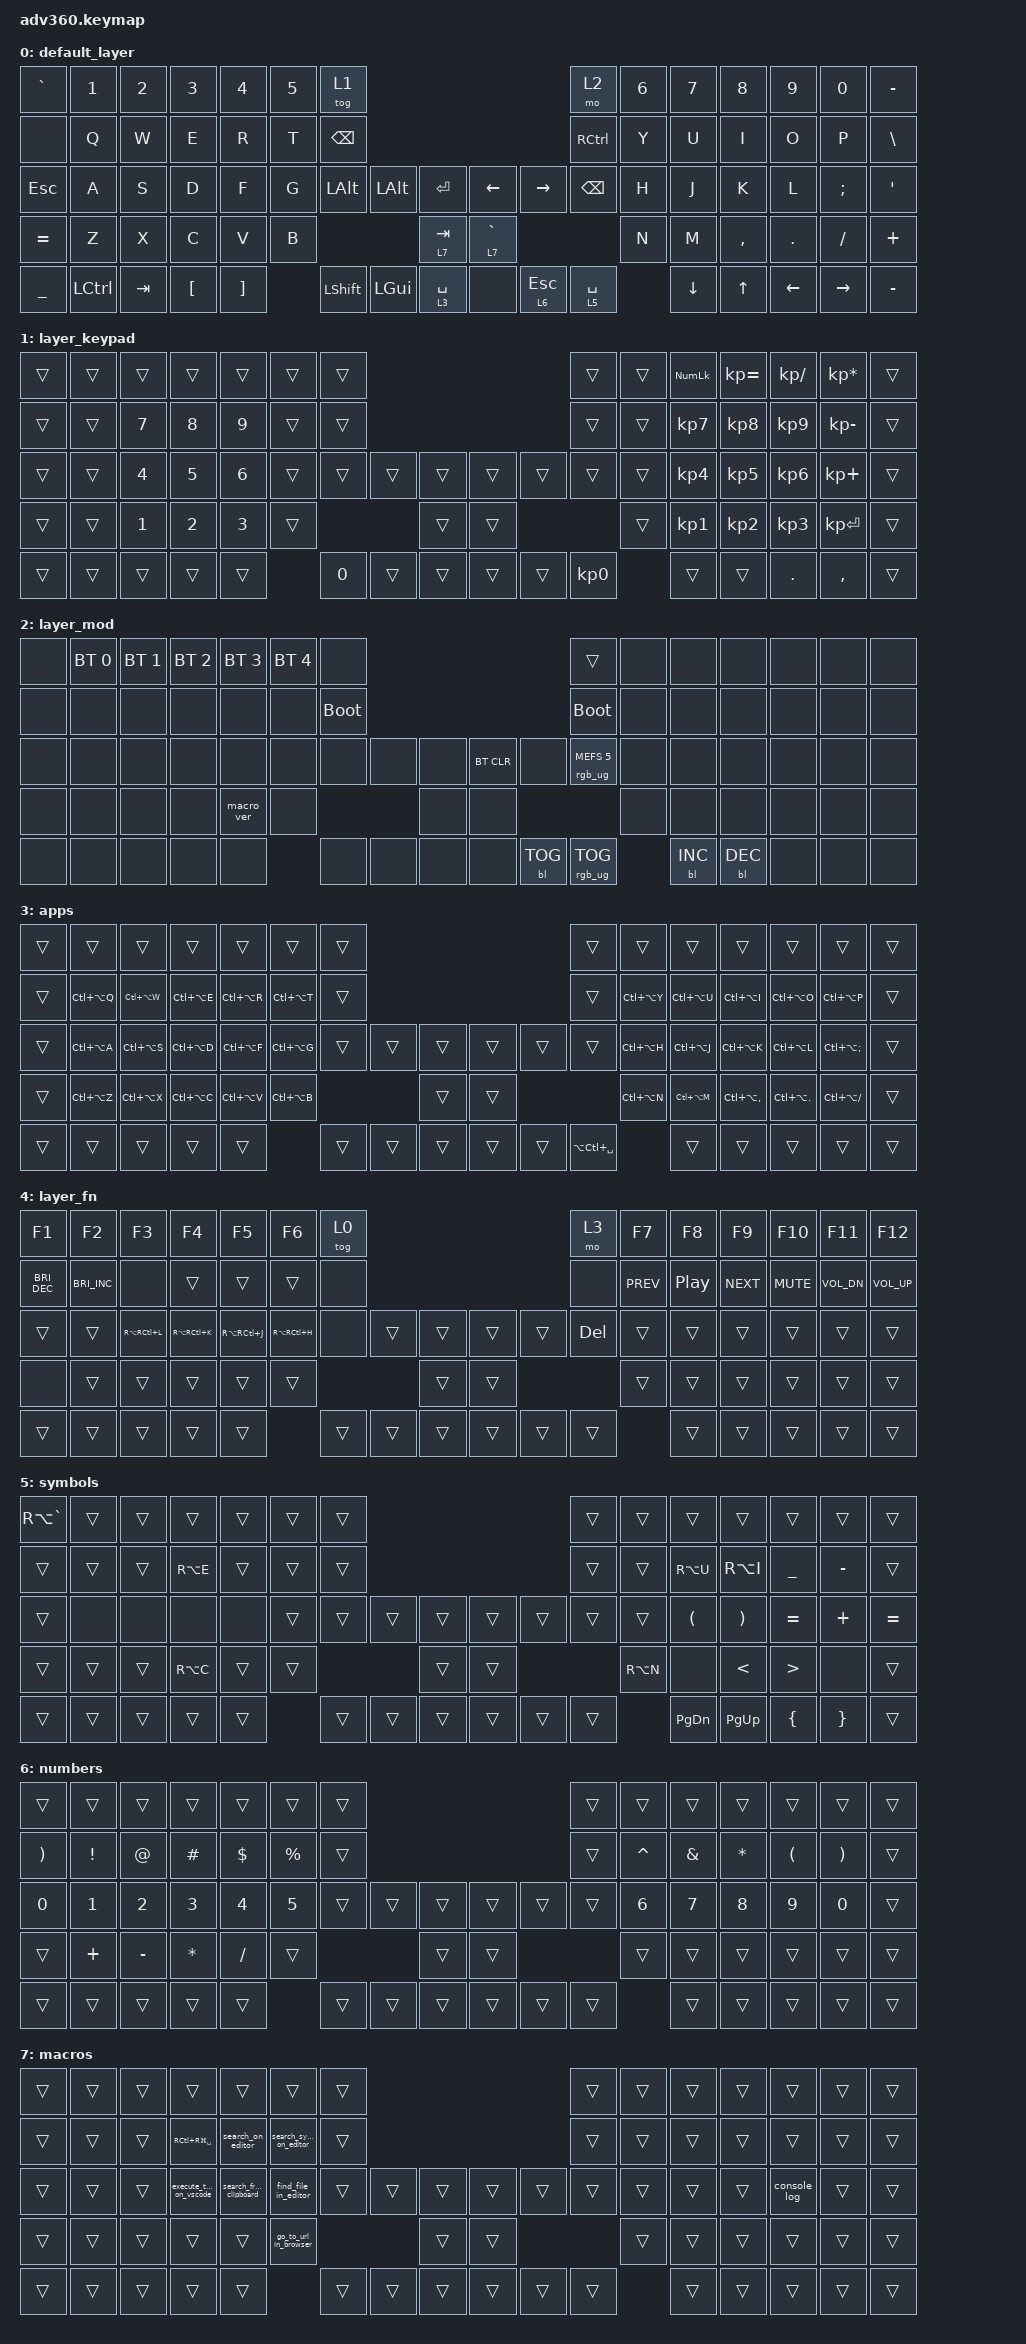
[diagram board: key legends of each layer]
/*
 * Copyright (c) 2020 The ZMK Contributors
 *
 * SPDX-License-Identifier: MIT
 */
/* THIS FILE WAS GENERATED!
 *
 * This file was generated automatically. You may or may not want to
 * edit it directly.
 */

#include <behaviors.dtsi>
#include <dt-bindings/zmk/backlight.h>
#include <dt-bindings/zmk/bt.h>
#include <dt-bindings/zmk/keys.h>
#include <dt-bindings/zmk/rgb.h>

/ {
    behaviors {
        #include "macros.dtsi"
    #include "version.dtsi"

        hm: homerow_mods {
            compatible = "zmk,behavior-hold-tap";
            label = "HOMEROW_MODS";
            #binding-cells = <2>;
            tapping-term-ms = <200>;
            quick_tap_ms = <175>;
            flavor = "tap-preferred";
            bindings = <&kp>, <&kp>;
        };
    };

    macros {
        go_to_url_in_browser: go_to_url_in_browser {
            compatible = "zmk,behavior-macro";
            #binding-cells = <0>;
            bindings = <&kp LG(C) &kp RA(RC(K)) &kp LG(L) &kp BACKSPACE &kp LG(V)>;
            label = "GO_TO_URL_IN_BROWSER";
        };

        find_file_in_editor: find_file {
            compatible = "zmk,behavior-macro";
            #binding-cells = <0>;
            bindings = <&kp LG(C) &kp RA(RC(J)) &kp LG(P) &kp LG(V)>;
            label = "FIND_FILE";
        };

        search_from_clipboard: search_from_clipboard {
            compatible = "zmk,behavior-macro";
            #binding-cells = <0>;
            bindings = <&kp LG(F) &kp LG(V)>;
            label = "SEARCH_FROM_CLIPBOARD";
        };

        search_on_editor: search_on_editor {
            compatible = "zmk,behavior-macro";
            #binding-cells = <0>;
            bindings = <&kp LG(C) &kp RA(RC(J)) &kp LG(RS(F)) &kp LG(V)>;
            label = "SEARCH_ON_EDITOR";
        };

        execute_tests_on_vscode: execute_tests_on_vscode {
            compatible = "zmk,behavior-macro";
            #binding-cells = <0>;
            bindings = <&kp LA(LC(J)) &kp RS(F5) &kp LG(LS(D)) &kp ENTER &kp LG(E) &kp LC(GRAVE)>;
            label = "EXECUTE_TESTS_ON_VSCODE";
        };

        typecheck_on_editor: typecheck_on_editor {
            compatible = "zmk,behavior-macro";
            #binding-cells = <0>;
            bindings = <&kp LA(LC(J)) &kp LC(GRAVE) &kp LC(C) &kp B &kp U &kp N &kp SPACE &kp T &kp Y &kp P &kp E &kp MINUS &kp C &kp H &kp E &kp C &kp K &kp ENTER>;
            label = "TYPECHECK_ON_EDITOR";
        };

        console_log: console_log {
            compatible = "zmk,behavior-macro";
            #binding-cells = <0>;
            bindings = <&kp LG(C) &kp O &kp C &kp O &kp N &kp S &kp O &kp L &kp E &kp DOT &kp L &kp O &kp G &kp LPAR &kp SQT &kp LS(T) &kp LS(O) &kp LS(D) &kp LS(O) &kp COLON &kp SPACE &kp LS(H) &kp LS(A) &kp LS(S) &kp LS(H) &kp LS(I) &kp SPACE &kp TILDE &kp SPACE &kp LG(V) &kp SQT &kp COMMA &kp LG(V) &kp RIGHT_PARENTHESIS &kp ESCAPE>;
            label = "CONSOLE_LOG";
        };

        search_symbol_on_editor: search_symbol_on_editor {
            compatible = "zmk,behavior-macro";
            #binding-cells = <0>;
            bindings = <&kp LG(C) &kp RA(RC(J)) &kp LG(T) &kp LG(V)>;
            label = "SEARCH_SYMBOL_ON_EDITOR";
        };
    };

    combos {
        compatible = "zmk,combos";

        JF {
            bindings = <&kp LA(LG(J))>;
            key-positions = <32 41>;
        };

        df {
            bindings = <&lt 3 ESC>;
            key-positions = <32 31>;
        };

        cmd_space_left {
            bindings = <&mo 4>;
            key-positions = <66 67>;
        };

        FH {
            bindings = <&kp LA(LG(H))>;
            key-positions = <32 40>;
        };

        opt-ctrl-space {
            bindings = <&kp LC(LA(SPACE))>;
            key-positions = <67 70>;
        };

        jk_enter {
            bindings = <&kp ENTER>;
            key-positions = <41 42>;
        };
    };

    keymap {
        compatible = "zmk,keymap";

        default_layer {
            bindings = <
&kp GRAVE       &kp N1     &kp N2   &kp N3            &kp N4             &kp N5  &tog 1                                                                 &mo 2              &kp N6  &kp N7    &kp N8     &kp N9          &kp N0     &kp MINUS
&none           &kp Q      &kp W    &kp E             &kp R              &kp T   &kp BACKSPACE                                                          &kp RIGHT_CONTROL  &kp Y   &kp U     &kp I      &kp O           &kp P      &kp BSLH
&kp ESC         &kp A      &kp S    &kp D             &kp F              &kp G   &kp LEFT_ALT    &kp LEFT_ALT  &kp ENTER        &kp LEFT     &kp RIGHT  &kp BACKSPACE      &kp H   &kp J     &kp K      &kp L           &kp SEMI   &kp SQT
&kp EQUAL       &kp Z      &kp X    &kp C             &kp V              &kp B                                 &lt 7 TAB        &lt 7 GRAVE                                &kp N   &kp M     &kp COMMA  &kp DOT         &kp FSLH   &kp PLUS
&kp UNDERSCORE  &kp LCTRL  &kp TAB  &kp LEFT_BRACKET  &kp RIGHT_BRACKET          &kp LEFT_SHIFT  &kp LEFT_GUI  &lt 3 SPACE      &none        &lt 6 ESC  &lt 5 SPACE                &kp DOWN  &kp UP     &kp LEFT_ARROW  &kp RIGHT  &kp MINUS
            >;
        };

        layer_keypad {
            bindings = <
&trans  &trans  &trans        &trans        &trans        &trans  &trans                                      &trans     &trans  &kp KP_NUM  &kp KP_EQUAL  &kp KP_DIVIDE  &kp KP_MULTIPLY  &trans
&trans  &trans  &kp N7        &kp N8        &kp N9        &trans  &trans                                      &trans     &trans  &kp KP_N7   &kp KP_N8     &kp KP_N9      &kp KP_MINUS     &trans
&trans  &trans  &kp NUMBER_4  &kp N5        &kp NUMBER_6  &trans  &trans  &trans  &trans      &trans  &trans  &trans     &trans  &kp KP_N4   &kp KP_N5     &kp KP_N6      &kp KP_PLUS      &trans
&trans  &trans  &kp N1        &kp NUMBER_2  &kp NUMBER_3  &trans                  &trans      &trans                     &trans  &kp KP_N1   &kp KP_N2     &kp KP_N3      &kp KP_ENTER     &trans
&trans  &trans  &trans        &trans        &trans                &kp N0  &trans  &trans      &trans  &trans  &kp KP_N0          &trans      &trans        &kp PERIOD     &kp COMMA        &trans
            >;
        };

        layer_mod {
            bindings = <
&none  &bt BT_SEL 0  &bt BT_SEL 1  &bt BT_SEL 2  &bt BT_SEL 3  &bt BT_SEL 4  &none                                                  &trans                  &none  &none       &none       &none  &none  &none
&none  &none         &none         &none         &none         &none         &bootloader                                            &bootloader             &none  &none       &none       &none  &none  &none
&none  &none         &none         &none         &none         &none         &none        &none  &none      &bt BT_CLR  &none       &rgb_ug RGB_MEFS_CMD 5  &none  &none       &none       &none  &none  &none
&none  &none         &none         &none         &macro_ver    &none                             &none      &none                                           &none  &none       &none       &none  &none  &none
&none  &none         &none         &none         &none                       &none        &none  &none      &none       &bl BL_TOG  &rgb_ug RGB_TOG                &bl BL_INC  &bl BL_DEC  &none  &none  &none
            >;
        };

        apps {
            bindings = <
&trans  &trans         &trans         &trans         &trans         &trans         &trans                                      &trans             &trans         &trans         &trans             &trans           &trans            &trans
&trans  &kp LC(LA(Q))  &kp LC(LA(W))  &kp LC(LA(E))  &kp LC(LA(R))  &kp LC(LA(T))  &trans                                      &trans             &kp LC(LA(Y))  &kp LC(LA(U))  &kp LC(LA(I))      &kp LC(LA(O))    &kp LC(LA(P))     &trans
&trans  &kp LC(LA(A))  &kp LC(LA(S))  &kp LC(LA(D))  &kp LC(LA(F))  &kp LC(LA(G))  &trans  &trans  &trans      &trans  &trans  &trans             &kp LC(LA(H))  &kp LC(LA(J))  &kp LC(LA(K))      &kp LC(LA(L))    &kp LC(LA(SEMI))  &trans
&trans  &kp LC(LA(Z))  &kp LC(LA(X))  &kp LC(LA(C))  &kp LC(LA(V))  &kp LC(LA(B))                  &trans      &trans                             &kp LC(LA(N))  &kp LC(LA(M))  &kp LC(LA(COMMA))  &kp LC(LA(DOT))  &kp LC(LA(FSLH))  &trans
&trans  &trans         &trans         &trans         &trans                        &trans  &trans  &trans      &trans  &trans  &kp LA(LC(SPACE))                 &trans         &trans             &trans           &trans            &trans
            >;
        };

        layer_fn {
            bindings = <
&kp F1                &kp F2                &kp F3         &kp F4         &kp F5         &kp F6         &tog 0                                      &mo 3       &kp F7      &kp F8            &kp F9      &kp F10     &kp F11       &kp F12
&kp C_BRIGHTNESS_DEC  &kp C_BRIGHTNESS_INC  &none          &trans         &trans         &trans         &none                                       &none       &kp C_PREV  &kp C_PLAY_PAUSE  &kp C_NEXT  &kp C_MUTE  &kp C_VOL_DN  &kp C_VOLUME_UP
&trans                &trans                &kp RA(RC(L))  &kp RA(RC(K))  &kp RA(RC(J))  &kp RA(RC(H))  &none   &trans  &trans      &trans  &trans  &kp DELETE  &trans      &trans            &trans      &trans      &trans        &trans
&none                 &trans                &trans         &trans         &trans         &trans                         &trans      &trans                      &trans      &trans            &trans      &trans      &trans        &trans
&trans                &trans                &trans         &trans         &trans                        &trans  &trans  &trans      &trans  &trans  &trans                  &trans            &trans      &trans      &trans        &trans
            >;
        };

        symbols {
            bindings = <
&kp RA(GRAVE)  &trans  &trans  &trans     &trans  &trans  &trans                                      &trans  &trans     &trans                &trans                 &trans            &trans           &trans
&trans         &trans  &trans  &kp RA(E)  &trans  &trans  &trans                                      &trans  &trans     &kp RA(U)             &kp RA(I)              &kp UNDERSCORE    &kp MINUS        &trans
&trans         &none   &none   &none      &none   &trans  &trans  &trans  &trans      &trans  &trans  &trans  &trans     &kp LEFT_PARENTHESIS  &kp RIGHT_PARENTHESIS  &kp EQUAL         &kp PLUS         &kp EQUAL
&trans         &trans  &trans  &kp RA(C)  &trans  &trans                  &trans      &trans                  &kp RA(N)  &none                 &kp LESS_THAN          &kp GREATER_THAN  &none            &trans
&trans         &trans  &trans  &trans     &trans          &trans  &trans  &trans      &trans  &trans  &trans             &kp PAGE_DOWN         &kp PAGE_UP            &kp LEFT_BRACE    &kp RIGHT_BRACE  &trans
            >;
        };

        numbers {
            bindings = <
&trans                 &trans           &trans       &trans        &trans      &trans       &trans                                      &trans  &trans     &trans         &trans        &trans                &trans                 &trans
&kp RIGHT_PARENTHESIS  &kp EXCLAMATION  &kp AT_SIGN  &kp HASH      &kp DOLLAR  &kp PERCENT  &trans                                      &trans  &kp CARET  &kp AMPERSAND  &kp ASTERISK  &kp LEFT_PARENTHESIS  &kp RIGHT_PARENTHESIS  &trans
&kp N0                 &kp N1           &kp N2       &kp N3        &kp N4      &kp N5       &trans  &trans  &trans      &trans  &trans  &trans  &kp N6     &kp N7         &kp N8        &kp N9                &kp N0                 &trans
&trans                 &kp PLUS         &kp MINUS    &kp ASTERISK  &kp SLASH   &trans                       &trans      &trans                  &trans     &trans         &trans        &trans                &trans                 &trans
&trans                 &trans           &trans       &trans        &trans                   &trans  &trans  &trans      &trans  &trans  &trans             &trans         &trans        &trans                &trans                 &trans
            >;
        };

        macros {
            bindings = <
&trans  &trans  &trans  &trans                    &trans                  &trans                    &trans                                      &trans  &trans  &trans  &trans  &trans        &trans  &trans
&trans  &trans  &trans  &kp RC(RG(SPACE))         &search_on_editor       &search_symbol_on_editor  &trans                                      &trans  &trans  &trans  &trans  &trans        &trans  &trans
&trans  &trans  &trans  &execute_tests_on_vscode  &search_from_clipboard  &find_file_in_editor      &trans  &trans  &trans      &trans  &trans  &trans  &trans  &trans  &trans  &console_log  &trans  &trans
&trans  &trans  &trans  &trans                    &trans                  &go_to_url_in_browser                     &trans      &trans                  &trans  &trans  &trans  &trans        &trans  &trans
&trans  &trans  &trans  &trans                    &trans                                            &trans  &trans  &trans      &trans  &trans  &trans          &trans  &trans  &trans        &trans  &trans
            >;
        };
    };
};
